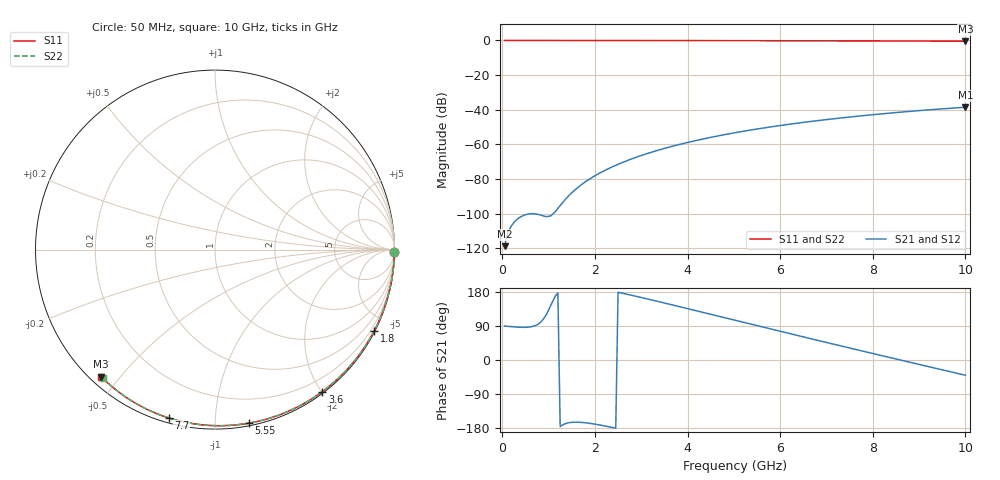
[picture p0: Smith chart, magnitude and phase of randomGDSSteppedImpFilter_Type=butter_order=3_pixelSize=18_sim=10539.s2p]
! freq	dB(S11)	phase(S11)	dB(S12)	phase(S12)
!  dB(S21)	phase(S21)	dB(S22)	phase(S22)
!S-par simulation data
#  GHz  S  DB  R 50
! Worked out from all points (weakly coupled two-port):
!   200 points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, 50 MHz to 10 GHz, reference 50 ohm
!   highest |S21| = -38.53 dB at 10 GHz (marker M1); lowest = -118.7 dB at 50 MHz (marker M2)
!   lowest |S11| = -0.4 dB at 10 GHz (marker M3), VSWR 39.02, Z = 1.54 - j22.3 ohm
!   |S11| at or under -10 dB: nowhere
!   |S22| runs from -0.4 to 0.0 dB; largest |S21 - S12| = 0
!   S11 on the Smith chart (normalised r, x): 50 MHz: open; 1.8 GHz: 0.04, -4.16; 3.6 GHz: 0.02, -2.01; 5.55 GHz: 0.02, -1.21; 7.7 GHz: 0.02, -0.76; 10 GHz: 0.03, -0.45
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0.05  -0.00 -0.8  -118.66 89.7  -118.66 89.7  -0.00 -0.8
0.9  -0.02 -13.6  -101.31 110.3  -101.31 110.3  -0.02 -13.6
1.75  -0.03 -26.3  -82.37 -165.1  -82.37 -165.1  -0.03 -26.1
1.8  -0.03 -27.0  -81.43 -165.8  -81.43 -165.8  -0.03 -26.9
1.85  -0.04 -27.8  -80.54 -166.5  -80.54 -166.5  -0.04 -27.6
1.9  -0.04 -28.5  -79.68 -167.3  -79.68 -167.3  -0.04 -28.3
2.05  -0.04 -30.7  -77.29 -170.3  -77.29 -170.3  -0.04 -30.5
2.25  -0.04 -33.6  -74.48 -174.9  -74.48 -174.9  -0.04 -33.4
2.45  -0.05 -36.5  -72.00 -179.9  -72.00 -179.9  -0.05 -36.3
2.65  -0.05 -39.4  -69.78 174.7  -69.78 174.7  -0.05 -39.2
3  -0.06 -44.4  -66.37 164.9  -66.37 164.9  -0.06 -44.1
3.4  -0.07 -50.1  -63.03 153.4  -63.03 153.4  -0.07 -49.8
3.6  -0.07 -52.9  -61.54 147.5  -61.54 147.5  -0.07 -52.5
4.3  -0.09 -62.5  -57.03 126.6  -57.03 126.6  -0.09 -62.1
5.05  -0.11 -72.5  -53.10 104.2  -53.10 104.2  -0.11 -72.0
5.55  -0.13 -78.9  -50.87 89.2  -50.87 89.2  -0.13 -78.5
6.1  -0.15 -85.9  -48.69 72.8  -48.69 72.8  -0.15 -85.4
6.7  -0.18 -93.4  -46.59 55.1  -46.59 55.1  -0.18 -92.8
7.7  -0.24 -105.4  -43.61 25.8  -43.61 25.8  -0.24 -104.8
8.35  -0.29 -113.0  -41.94 7.0  -41.94 7.0  -0.29 -112.4
9.15  -0.36 -122.3  -40.15 -16.0  -40.15 -16.0  -0.36 -121.5
10  -0.45 -131.9  -38.53 -40.3  -38.53 -40.3  -0.44 -131.1
